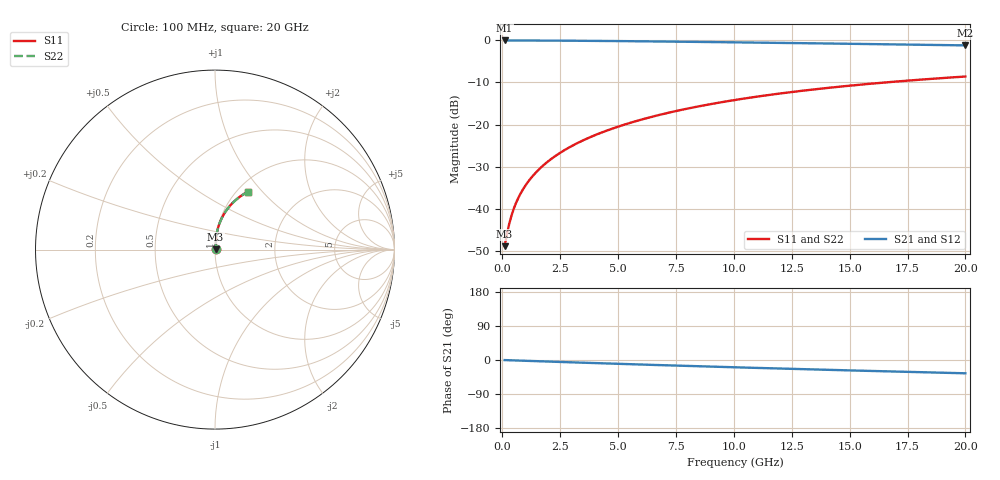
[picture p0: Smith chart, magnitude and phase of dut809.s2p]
! Touchstone file exported from HFSS 2024.1.0
!  File:  C:/UserFiles/LocalFiles/RDL_TSV_Batchsim/temp_RDL_bottom_809_1779862297.aedt
!  Generated:  02:13:54 PM May 27, 2026
!  Design:  RDL_bottom
!  Project:  temp_RDL_bottom_809_1779862297
!  Setup:  Setup1
!  Solution:  Sweep
! Variables:
!  dtsv = 10.80580581um
!  hbump = 3um
!  htsv = 59.37um
!  ldown = 443.34um
!  lrdl = 100um
!  p = 40
!  p1 = 55.93um
!  rhole = 1um
!  t = 450um
!  tdown = 2.75um
!  trdl = 3.915915916um
!  wdown = 20.65um
!  wrdl = 20um
# GHz S MA R 50.000000
! Terminal data exported
! Port[1] = RDL1_T1
! Port[2] = RDL1_T2
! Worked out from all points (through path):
!   200 points, 100 MHz to 20 GHz, reference 50 ohm
!   highest |S21| = -0.03 dB at 100 MHz (marker M1); lowest = -1.2 dB at 20 GHz (marker M2)
!   group delay of S21, straight-line fit = 4.84 ps
!   lowest |S11| = -48.9 dB at 100 MHz (marker M3), VSWR 1.01, Z = 50.3 + j0.198 ohm
!   |S11| at or under -10 dB: start of sweep to 16.55 GHz
!   |S22| runs from -48.9 to -8.6 dB; largest |S21 - S12| = 3.2e-15
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0.1  0.003591 33.2  0.997 -0.2  0.997 -0.2  0.003591 33.2
! Gamma 0 0 0 0
! Port Impedance 50 0 50 0
0.2  0.004977 51.7  0.9969 -0.4  0.9969 -0.4  0.004977 51.7
0.3  0.006623 61.1  0.9967 -0.6  0.9967 -0.6  0.006623 61.1
0.4  0.008343 66.6  0.9966 -0.9  0.9966 -0.9  0.008344 66.6
0.5  0.01008 70.1  0.9964 -1.1  0.9964 -1.1  0.01008 70.1
0.6  0.01183 72.6  0.9963 -1.3  0.9963 -1.3  0.01183 72.6
0.8  0.01534 76.0  0.9959 -1.7  0.9959 -1.7  0.01534 76.0
1.1  0.02065 79.1  0.9954 -2.3  0.9954 -2.3  0.02065 79.1
1.3  0.02422 80.4  0.995 -2.7  0.995 -2.7  0.02422 80.4
1.6  0.02963 81.8  0.9944 -3.3  0.9944 -3.3  0.02963 81.8
2.1  0.03876 83.1  0.993 -4.4  0.993 -4.4  0.03876 83.1
2.7  0.04991 83.9  0.9911 -5.6  0.9911 -5.6  0.04991 83.9
3.5  0.06508 84.2  0.9878 -7.2  0.9878 -7.2  0.06508 84.2
4.2  0.07862 84.0  0.9845 -8.5  0.9845 -8.5  0.07862 84.0
5  0.09435 83.4  0.9803 -10.1  0.9803 -10.1  0.09435 83.4
5.9  0.1123 82.6  0.975 -11.8  0.975 -11.8  0.1123 82.6
6.8  0.1304 81.5  0.9694 -13.5  0.9694 -13.5  0.1304 81.5
8.4  0.1628 79.2  0.9588 -16.4  0.9588 -16.4  0.1628 79.2
10.1  0.1968 76.5  0.9469 -19.3  0.9469 -19.3  0.1968 76.5
13.4  0.2602 70.9  0.9226 -24.9  0.9226 -24.9  0.2602 70.9
16.7  0.3188 65.5  0.8972 -30.1  0.8972 -30.1  0.3188 65.5
20  0.3718 60.3  0.8713 -35.1  0.8713 -35.1  0.3718 60.3
